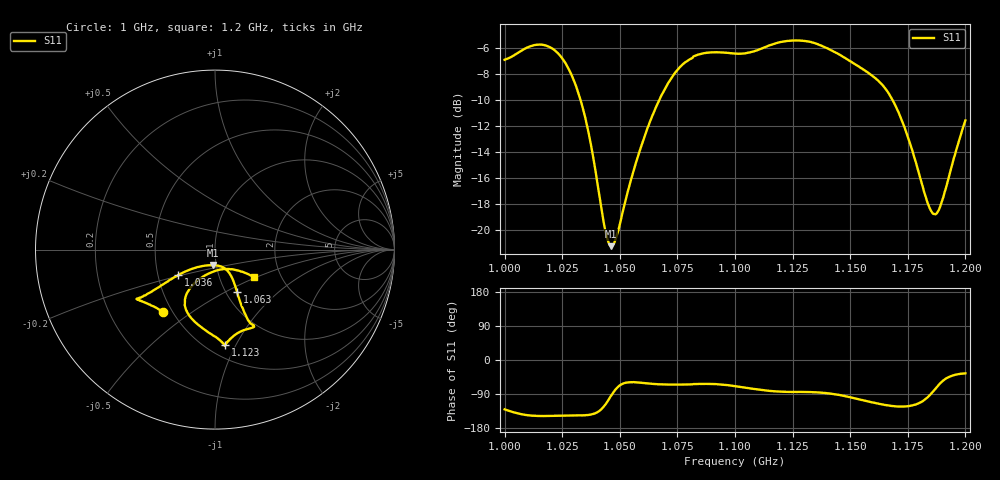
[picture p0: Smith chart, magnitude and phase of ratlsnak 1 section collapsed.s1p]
! NanoVNA-App
! Date: 2026-05-22 22:05:30
! Start: 1GHz Stop: 1.2GHz Points: 401
! S-Parameter data: F S11
# Hz S RI R 50
!  Frequency  S11_Real  S11_Imag
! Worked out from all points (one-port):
!   401 points, 1 GHz to 1.2 GHz, reference 50 ohm
!   lowest |S11| = -21.2 dB at 1.046 GHz (marker M1), VSWR 1.19, Z = 48.3 - j8.41 ohm
!   |S11| at or under -10 dB: 1.033 GHz to 1.067 GHz (34.17 MHz wide, 3.25 % of centre); 1.168 GHz to end of sweep
!   S11 on the Smith chart (normalised r, x): 1 GHz: 0.45, -0.39; 1.036 GHz: 0.64, -0.19; 1.063 GHz: 1.13, -0.57; 1.123 GHz: 0.61, -0.91; 1.2 GHz: 1.46, -0.48
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1e9  -0.2912 -0.3453
1.008e9  -0.3989 -0.2911
1.013e9  -0.4326 -0.2783
1.019e9  -0.4293 -0.2718
1.025e9  -0.3824 -0.2513
1.031e9  -0.2978 -0.1986
1.036e9  -0.2036 -0.1408
1.0435e9  -0.05 -0.0885
1.046e9  -0.00944 -0.0863
1.048e9  0.0178 -0.0897
1.05e9  0.0412 -0.0967
1.0565e9  0.0913 -0.1496
1.0635e9  0.1228 -0.2364
1.075e9  0.175 -0.3742
1.0885e9  0.218 -0.4292
1.1e9  0.1703 -0.4454
1.1125e9  0.0873 -0.4948
1.123e9  0.0561 -0.5312
1.125e9  0.0533 -0.5329
1.1385e9  0.029 -0.5061
1.15e9  -0.0646 -0.4415
1.165e9  -0.1685 -0.3093
1.17e9  -0.1593 -0.2499
1.175e9  -0.1206 -0.1945
1.1835e9  -0.0198 -0.1264
1.187e9  0.0288 -0.1114
1.1895e9  0.0652 -0.1086
1.2e9  0.2156 -0.1526
